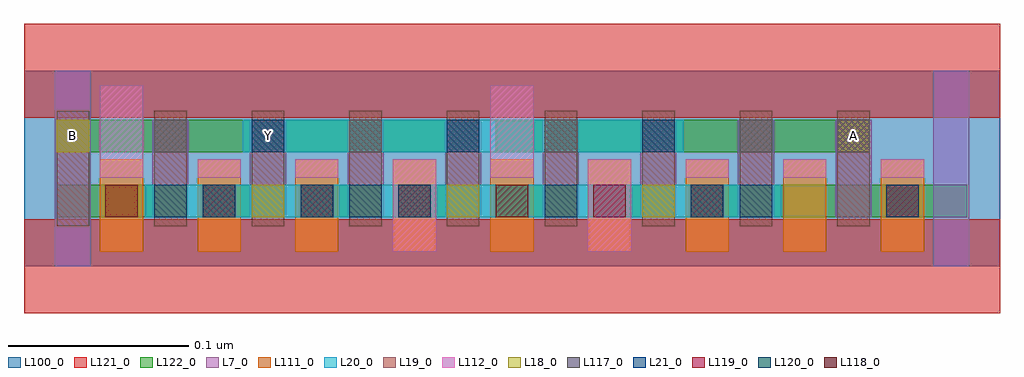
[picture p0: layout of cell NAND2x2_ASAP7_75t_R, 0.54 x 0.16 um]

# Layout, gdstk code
import gdstk
lib = gdstk.Library(unit=1e-6, precision=2.5e-10)
def R(c, l, rs):  # rectangles x0, y0, x1, y1
    for r in rs: c.add(gdstk.rectangle(r[:2], r[2:], *l))
def A(c, l, x, y, w, h, nx, ny, dx, dy):  # array of equal rectangles
    R(c, l, [(x+i*dx, y+j*dy, x+i*dx+w, y+j*dy+h) for i in range(nx) for j in range(ny)])
L7_0 = (7, 0)
L18_0 = (18, 0)
L19_0 = (19, 0)
L20_0 = (20, 0)
L21_0 = (21, 0)
L100_0 = (100, 0)
L111_0 = (111, 0)
L112_0 = (112, 0)
L117_0 = (117, 0)
L118_0 = (118, 0)
L119_0 = (119, 0)
L120_0 = (120, 0)
L121_0 = (121, 0)
L122_0 = (122, 0)

nand2x2_asap7_75t_r = lib.new_cell('NAND2x2_ASAP7_75t_R')
A(nand2x2_asap7_75t_r, L7_0, 0.071, 0.027, 0.02, 0.054, 8, 1, 0.054, 0)
R(nand2x2_asap7_75t_r, L7_0, [(0.017,0,0.037,0.108), (0.503,0,0.523,0.108)])
A(nand2x2_asap7_75t_r, L18_0, 0.072, 0.027, 0.018, 0.018, 7, 1, 0.054, 0)
R(nand2x2_asap7_75t_r, L18_0, [(0.018,0.063,0.036,0.081), (0.45,0.063,0.468,0.081)])
A(nand2x2_asap7_75t_r, L19_0, 0.018, 0.022, 0.018, 0.064, 9, 1, 0.054, 0)
R(nand2x2_asap7_75t_r, L20_0, [(0.067,0.027,0.419,0.045), (0.121,0.063,0.365,0.081)])
A(nand2x2_asap7_75t_r, L21_0, 0.072, 0.027, 0.018, 0.018, 4, 1, 0.108, 0)
A(nand2x2_asap7_75t_r, L21_0, 0.126, 0.063, 0.018, 0.018, 3, 1, 0.108, 0)
R(nand2x2_asap7_75t_r, L100_0, [(0,0,0.54,0.108)])
A(nand2x2_asap7_75t_r, L111_0, 0.042, 0.008, 0.024, 0.051, 9, 1, 0.054, 0)
A(nand2x2_asap7_75t_r, L112_0, 0.366, 0.049, 0.024, 0.01, 3, 1, 0.054, 0)
R(nand2x2_asap7_75t_r, L112_0, [(0.204,0.008,0.228,0.059), (0.312,0.008,0.336,0.059), (0.042,0.049,0.066,0.1), (0.096,0.049,0.12,0.059), (0.15,0.049,0.174,0.059), (0.258,0.049,0.282,0.1)])
A(nand2x2_asap7_75t_r, L117_0, 0.072, 0.063, 0.018, 0.018, 8, 1, 0.054, 0)
R(nand2x2_asap7_75t_r, L118_0, [(0.045,0.027,0.063,0.045), (0.261,0.027,0.279,0.045)])
A(nand2x2_asap7_75t_r, L119_0, 0.099, 0.027, 0.018, 0.018, 3, 1, 0.054, 0)
R(nand2x2_asap7_75t_r, L119_0, [(0.315,0.027,0.333,0.045), (0.369,0.027,0.387,0.045), (0.477,0.027,0.495,0.045)])
A(nand2x2_asap7_75t_r, L120_0, 0.099, 0.027, 0.018, 0.018, 3, 1, 0.054, 0)
R(nand2x2_asap7_75t_r, L120_0, [(0.369,0.027,0.387,0.045), (0.477,0.027,0.495,0.045)])
R(nand2x2_asap7_75t_r, L121_0, [(0,-0.026,0.54,0.026), (0,0.082,0.54,0.134)])
A(nand2x2_asap7_75t_r, L122_0, 0.099, 0.027, 0.045, 0.018, 5, 1, 0.054, 0)
R(nand2x2_asap7_75t_r, L122_0, [(0.018,0.027,0.09,0.045), (0.369,0.027,0.522,0.045), (0.018,0.063,0.252,0.081), (0.261,0.063,0.468,0.081)])
nand2x2_asap7_75t_r.add(gdstk.Label('Y', (0.135,0.072), layer=19, texttype=251))
nand2x2_asap7_75t_r.add(gdstk.Label('B', (0.027,0.072), layer=19, texttype=251))
nand2x2_asap7_75t_r.add(gdstk.Label('A', (0.459,0.072), layer=19, texttype=251))

lib.write_gds('NAND2x2_ASAP7_75t_R.gds')
